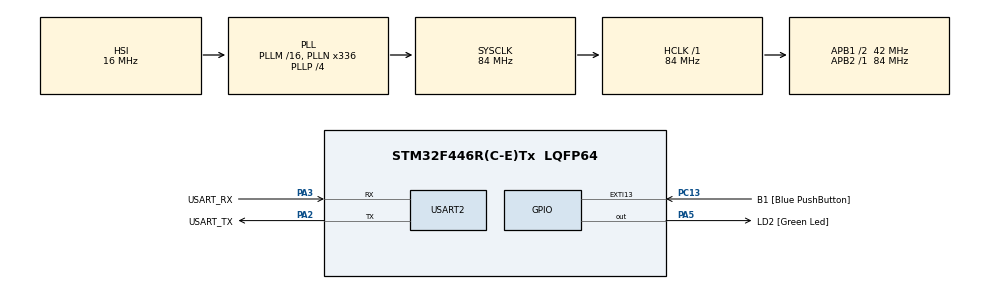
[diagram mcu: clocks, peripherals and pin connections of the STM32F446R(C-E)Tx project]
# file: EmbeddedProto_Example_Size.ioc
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Mcu.Family=STM32F4
Mcu.Name=STM32F446R(C-E)Tx
Mcu.Package=LQFP64
NVIC.PriorityGroup=NVIC_PRIORITYGROUP_0
PA13.GPIO_Label=TMS
PA13.Mode=Serial_Wire
PA13.Signal=SYS_JTMS-SWDIO
PA14.GPIO_Label=TCK
PA14.Mode=Serial_Wire
PA14.Signal=SYS_JTCK-SWCLK
PA2.GPIO_Label=USART_TX
PA2.Mode=Asynchronous
PA2.Signal=USART2_TX
PA3.GPIO_Label=USART_RX
PA3.Mode=Asynchronous
PA3.Signal=USART2_RX
PA5.GPIO_Label=LD2 [Green Led]
PA5.Signal=GPIO_Output
PB3.GPIO_Label=SWO
PB3.Signal=SYS_JTDO-SWO
PC13.GPIO_Label=B1 [Blue PushButton]
PC13.GPIO_ModeDefaultEXTI=GPIO_MODE_IT_FALLING
PC13.Signal=GPXTI13
PC14-OSC32_IN.Mode=LSE-External-Oscillator
PC14-OSC32_IN.Signal=RCC_OSC32_IN
PC15-OSC32_OUT.Mode=LSE-External-Oscillator
PC15-OSC32_OUT.Signal=RCC_OSC32_OUT
PH0-OSC_IN.Mode=HSE-External-Oscillator
PH0-OSC_IN.Signal=RCC_OSC_IN
PH1-OSC_OUT.Mode=HSE-External-Oscillator
PH1-OSC_OUT.Signal=RCC_OSC_OUT
ProjectManager.HeapSize=0x200
ProjectManager.StackSize=0x400
ProjectManager.TargetToolchain=STM32CubeIDE
RCC.48MHZClocksFreq_Value=84000000
RCC.AHBFreq_Value=84000000
RCC.APB1CLKDivider=RCC_HCLK_DIV2
RCC.APB1Freq_Value=42000000
RCC.APB1TimFreq_Value=84000000
RCC.APB2Freq_Value=84000000
RCC.APB2TimFreq_Value=84000000
RCC.CortexFreq_Value=84000000
RCC.FLatency-AdvancedSettings=FLASH_LATENCY_2
RCC.HCLKFreq_Value=84000000
RCC.HSE_VALUE=8000000
RCC.HSI_VALUE=16000000
RCC.PLLN=336
RCC.PLLP=RCC_PLLP_DIV4
RCC.SYSCLKFreq_VALUE=84000000
RCC.SYSCLKSource=RCC_SYSCLKSOURCE_PLLCLK
RCC.USBFreq_Value=168000000
RCC.VCOOutputFreq_Value=336000000
USART2.VirtualMode=VM_ASYNC
board=NUCLEO-F446RE

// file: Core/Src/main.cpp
/* USER CODE BEGIN Header */
/**
  ******************************************************************************
  * @file           : main.c
  * @brief          : Main program body
  ******************************************************************************
  * @attention
  *
  * <h2><center>&copy; Copyright (c) 2021 STMicroelectronics.
  * All rights reserved.</center></h2>
  *
  * This software component is licensed by ST under BSD 3-Clause license,
  * the "License"; You may not use this file except in compliance with the
  * License. You may obtain a copy of the License at:
  *                        opensource.org/licenses/BSD-3-Clause
  *
  ******************************************************************************
  */
/* USER CODE END Header */
#include <main.hpp>
#include <cycle_counter.h>
#include <string.h>

/* Library selection defines - passed via CMake compiler flags:
 * - SIZE_TEST: For size testing (SizeTest.h)
 * - EAMS: For EmbeddedProto testing (eams.hpp)
 * - NANOPB: For NanoPB testing (nanopb.h)
 * - ARDUINOJSON: For ArduinoJson testing (arduinojson.hpp)
 *
 * Scenario selection defines:
 * - SCENARIO_simple_types: For simple_types scenario
 * - SCENARIO_nested_message: For nested_message scenario
 *
 * Build with: cmake -DLIBRARY=<library_name> -DSCENARIO=<scenario_name> ..
 * If none are defined, defaults to NanoPB for backward compatibility.
 */

#if defined(SIZE_TEST)
#include <SizeTest.h>
#elif defined(EAMS)
#include <eams.hpp>
#elif defined(ARDUINOJSON)
#include <arduinojson.hpp>
#else
/* Default to NanoPB for backward compatibility */
#include <nanopb.h>
#endif

/* Declare scenario-specific test functions */
#ifdef SCENARIO_simple_types
void test_embeddedproto_simple_types();
void test_nanopb_simple_types();
void test_arduinojson_simple_types();
#elif defined(SCENARIO_nested_message)
void test_embeddedproto_nested_message();
void test_nanopb_nested_message();
void test_arduinojson_nested_message();
#else
#error "No scenario defined - use -DSCENARIO=<scenario_name>"
#endif
/* USER CODE END Includes */

/* SER CODE BEGIN PTD */

/* USER CODE END PTD */

UART_HandleTypeDef huart2;

void SystemClock_Config(void);
static void MX_GPIO_Init(void);
static void MX_USART2_UART_Init(void);

int main(void)
{

  /* MCU Configuration--------------------------------------------------------*/

  /* Reset of all peripherals, Initializes the Flash interface and the Systick. */
  HAL_Init();

  /* Configure the system clock */
  SystemClock_Config();

  /* Initialize all configured peripherals */
  MX_GPIO_Init();
  MX_USART2_UART_Init();
  /* USER CODE BEGIN 2 */

  /* Send startup message to verify UART is working */
  const char* startup_msg = "\r\n=== STM32 Cycle Measurement Started ===\r\n";
  HAL_UART_Transmit(&huart2, (uint8_t*)startup_msg, strlen(startup_msg), HAL_MAX_DELAY);

  /* Initialize DWT cycle counter for CPU cycle measurement */
  CycleCounter_Init();

  /* Run test functions based on selected library and scenario */
#if defined(SIZE_TEST)
  call_all_functions();
#elif defined(EAMS)
  #ifdef SCENARIO_simple_types
  test_embeddedproto_simple_types();
  #elif defined(SCENARIO_nested_message)
  test_embeddedproto_nested_message();
  #else
  #error "No scenario defined for EmbeddedProto"
  #endif
#elif defined(ARDUINOJSON)
  #ifdef SCENARIO_simple_types
  test_arduinojson_simple_types();
  #elif defined(SCENARIO_nested_message)
  test_arduinojson_nested_message();
  #else
  #error "No scenario defined for ArduinoJson"
  #endif
#else
  /* Default to NanoPB */
  #ifdef SCENARIO_simple_types
  test_nanopb_simple_types();
  #elif defined(SCENARIO_nested_message)
  test_nanopb_nested_message();
  #else
  #error "No scenario defined for NanoPB"
  #endif
#endif

  /* USER CODE END 2 */

  /* Infinite loop */
  while (1)
  {

    /* USER CODE BEGIN 3 */
    /* Blink LED to show code is running */
    HAL_GPIO_TogglePin(LD2_GPIO_Port, LD2_Pin);
    HAL_Delay(500);
  }
  /* USER CODE END 3 */
}

void SystemClock_Config(void)
{
  RCC_OscInitTypeDef RCC_OscInitStruct = {0};
  RCC_ClkInitTypeDef RCC_ClkInitStruct = {0};

  /** Configure the main internal regulator output voltage
  */
  __HAL_RCC_PWR_CLK_ENABLE();
  __HAL_PWR_VOLTAGESCALING_CONFIG(PWR_REGULATOR_VOLTAGE_SCALE3);
  /** Initializes the RCC Oscillators according to the specified parameters
  * in the RCC_OscInitTypeDef structure.
  */
  RCC_OscInitStruct.OscillatorType = RCC_OSCILLATORTYPE_HSI;
  RCC_OscInitStruct.HSIState = RCC_HSI_ON;
  RCC_OscInitStruct.HSICalibrationValue = RCC_HSICALIBRATION_DEFAULT;
  RCC_OscInitStruct.PLL.PLLState = RCC_PLL_ON;
  RCC_OscInitStruct.PLL.PLLSource = RCC_PLLSOURCE_HSI;
  RCC_OscInitStruct.PLL.PLLM = 16;
  RCC_OscInitStruct.PLL.PLLN = 336;
  RCC_OscInitStruct.PLL.PLLP = RCC_PLLP_DIV4;
  RCC_OscInitStruct.PLL.PLLQ = 2;
  RCC_OscInitStruct.PLL.PLLR = 2;
  if (HAL_RCC_OscConfig(&RCC_OscInitStruct) != HAL_OK)
  {
    Error_Handler();
  }
  /** Initializes the CPU, AHB and APB buses clocks
  */
  RCC_ClkInitStruct.ClockType = RCC_CLOCKTYPE_HCLK|RCC_CLOCKTYPE_SYSCLK
                              |RCC_CLOCKTYPE_PCLK1|RCC_CLOCKTYPE_PCLK2;
  RCC_ClkInitStruct.SYSCLKSource = RCC_SYSCLKSOURCE_PLLCLK;
  RCC_ClkInitStruct.AHBCLKDivider = RCC_SYSCLK_DIV1;
  RCC_ClkInitStruct.APB1CLKDivider = RCC_HCLK_DIV2;
  RCC_ClkInitStruct.APB2CLKDivider = RCC_HCLK_DIV1;

  if (HAL_RCC_ClockConfig(&RCC_ClkInitStruct, FLASH_LATENCY_2) != HAL_OK)
  {
    Error_Handler();
  }
}

static void MX_USART2_UART_Init(void)
{

  huart2.Instance = USART2;
  huart2.Init.BaudRate = 115200;
  huart2.Init.WordLength = UART_WORDLENGTH_8B;
  huart2.Init.StopBits = UART_STOPBITS_1;
  huart2.Init.Parity = UART_PARITY_NONE;
  huart2.Init.Mode = UART_MODE_TX_RX;
  huart2.Init.HwFlowCtl = UART_HWCONTROL_NONE;
  huart2.Init.OverSampling = UART_OVERSAMPLING_16;
  if (HAL_UART_Init(&huart2) != HAL_OK)
  {
    Error_Handler();
  }

}

static void MX_GPIO_Init(void)
{
  GPIO_InitTypeDef GPIO_InitStruct = {0};

  /* GPIO Ports Clock Enable */
  __HAL_RCC_GPIOC_CLK_ENABLE();
  __HAL_RCC_GPIOH_CLK_ENABLE();
  __HAL_RCC_GPIOA_CLK_ENABLE();
  __HAL_RCC_GPIOB_CLK_ENABLE();

  /*Configure GPIO pin Output Level */
  HAL_GPIO_WritePin(LD2_GPIO_Port, LD2_Pin, GPIO_PIN_RESET);

  /*Configure GPIO pin : B1_Pin */
  GPIO_InitStruct.Pin = B1_Pin;
  GPIO_InitStruct.Mode = GPIO_MODE_IT_FALLING;
  GPIO_InitStruct.Pull = GPIO_NOPULL;
  HAL_GPIO_Init(B1_GPIO_Port, &GPIO_InitStruct);

  /*Configure GPIO pin : LD2_Pin */
  GPIO_InitStruct.Pin = LD2_Pin;
  GPIO_InitStruct.Mode = GPIO_MODE_OUTPUT_PP;
  GPIO_InitStruct.Pull = GPIO_NOPULL;
  GPIO_InitStruct.Speed = GPIO_SPEED_FREQ_LOW;
  HAL_GPIO_Init(LD2_GPIO_Port, &GPIO_InitStruct);

}

void Error_Handler(void)
{
  __disable_irq();
  while (1)
  {
  }
}

/************************ (C) COPYRIGHT STMicroelectronics *****END OF FILE****/
